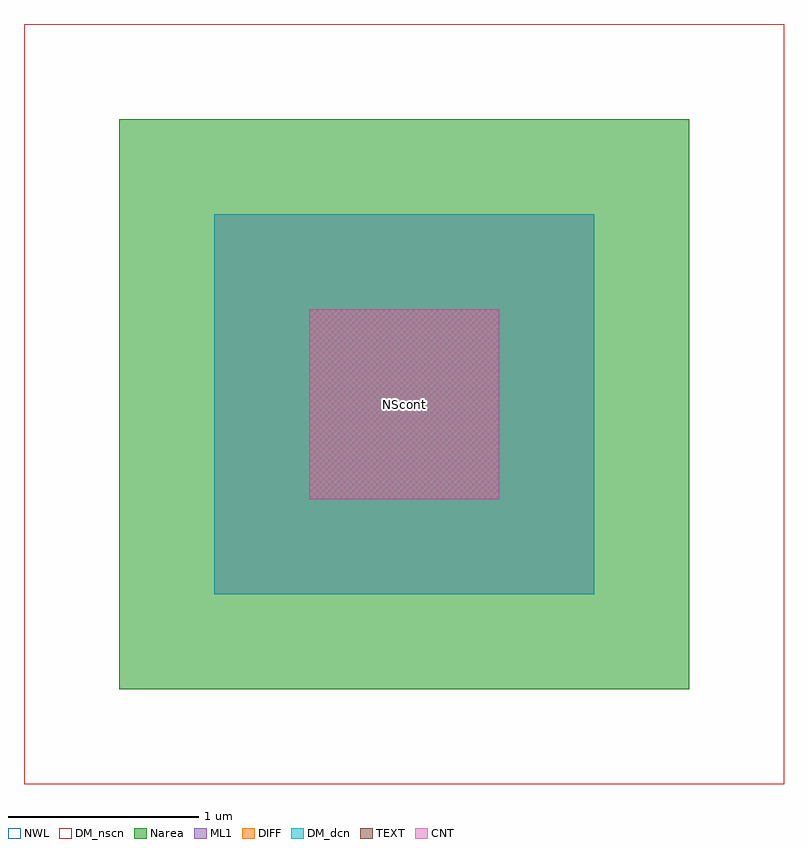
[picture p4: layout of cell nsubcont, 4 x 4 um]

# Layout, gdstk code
import gdstk
lib = gdstk.Library(unit=1e-6, precision=1e-09)
def R(c, l, rs):  # rectangles x0, y0, x1, y1
    for r in rs: c.add(gdstk.rectangle(r[:2], r[2:], *l))
NWL = (1, 0)
DIFF = (3, 0)
CNT = (7, 0)
ML1 = (8, 0)
TEXT = (13, 0)
Narea = (19, 0)
DM_dcn = (101, 0)
DM_nscn = (103, 0)

dcont = lib.new_cell('dcont')
R(dcont, DIFF, [(-1,-1,1,1)])
R(dcont, CNT, [(-0.5,-0.5,0.5,0.5)])
R(dcont, ML1, [(-1,-1,1,1)])
R(dcont, TEXT, [(-0.5,-0.5,0.5,0.5)])
R(dcont, DM_dcn, [(-1,-1,1,1)])
dcont.add(gdstk.Label('dcont', (0,0), layer=13, texttype=0))

nsubcont = lib.new_cell('nsubcont')
R(nsubcont, NWL, [(-2,-2,2,2)])
R(nsubcont, Narea, [(-1.5,-1.5,1.5,1.5)])
R(nsubcont, DM_nscn, [(-2,-2,2,2)])
nsubcont.add(gdstk.Reference(dcont, (0,0)))
nsubcont.add(gdstk.Label('NScont', (0,0), layer=13, texttype=0))

lib.write_gds('nsubcont.gds')
